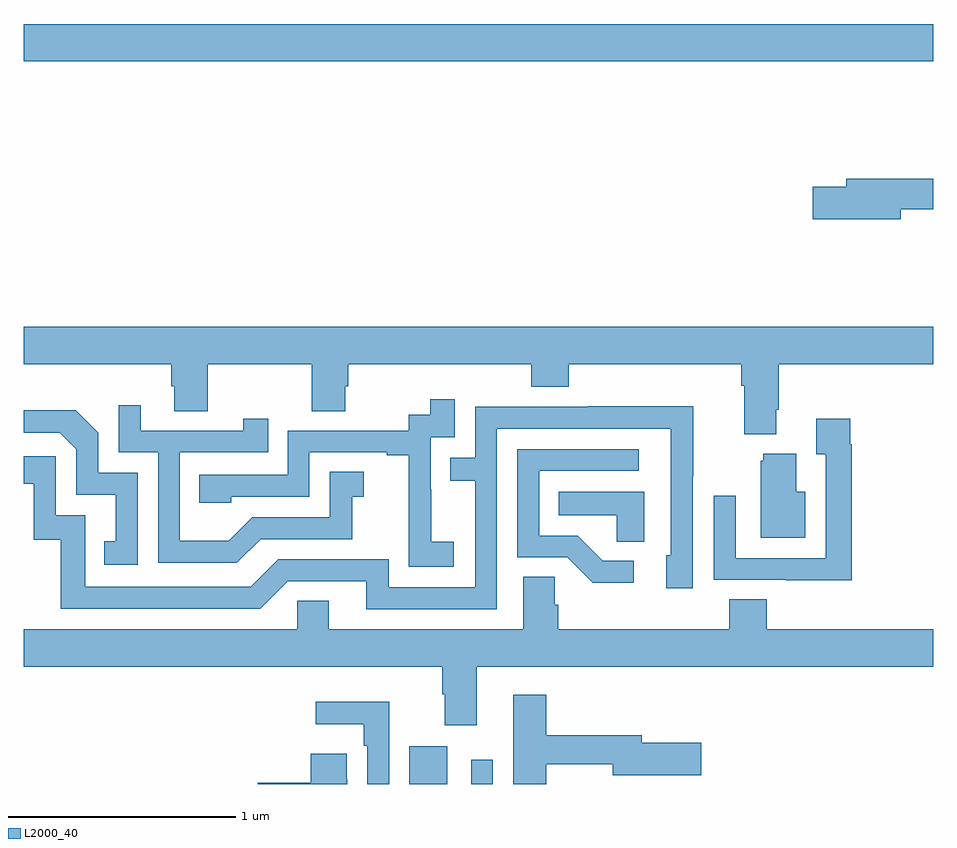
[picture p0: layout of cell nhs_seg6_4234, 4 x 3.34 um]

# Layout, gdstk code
import gdstk
lib = gdstk.Library(unit=1e-6, precision=1e-09)
def R(c, l, rs):  # rectangles x0, y0, x1, y1
    for r in rs: c.add(gdstk.rectangle(r[:2], r[2:], *l))
def P(c, l, *ps):  # polygons
    for p in ps: c.add(gdstk.Polygon(p, *l))
L2000_40 = (2000, 40)

nhs_seg6_4234 = lib.new_cell('nhs_seg6_4234')
R(nhs_seg6_4234, L2000_40, [(362.696,933.5,362.863,933.667), (362.967,933.5,363.063,933.607), (361,936.68,365,936.844)])
P(nhs_seg6_4234, L2000_40, [(364.858,936.028),(365,936.028),(365,936.164),(364.619,936.164),(364.619,936.128),(364.47,936.128),(364.47,935.986),(364.858,935.986)],
  [(364.309,935.146),(364.322,935.146),(364.322,935.348),(365,935.348),(365,935.512),(361,935.512),(361,935.348),(361.649,935.348),(361.649,935.25),(361.661,935.25),(361.661,935.14),(361.809,935.14),(361.809,935.348),(362.266,935.348),(362.266,935.14),(362.413,935.14),(362.413,935.25),(362.426,935.25),(362.426,935.348),(363.233,935.348),(363.233,935.249),(363.398,935.249),(363.398,935.348),(364.157,935.348),(364.157,935.252),(364.169,935.252),(364.169,935.039),(364.309,935.039)],
  [(362.89,934.567),(362.792,934.567),(362.792,934.796),(362.79,934.796),(362.79,935.025),(362.895,935.025),(362.895,935.194),(362.787,935.194),(362.787,935.124),(362.694,935.124),(362.694,935.055),(362.16,935.055),(362.16,934.86),(361.771,934.86),(361.771,934.737),(361.911,934.737),(361.911,934.764),(362.256,934.764),(362.256,934.959),(362.597,934.959),(362.597,934.947),(362.693,934.947),(362.693,934.663),(362.692,934.663),(362.692,934.457),(362.89,934.457)],
  [(362.041,934.578),(362.445,934.578),(362.445,934.763),(362.494,934.763),(362.494,934.873),(362.346,934.873),(362.346,934.674),(362.004,934.674),(361.9,934.57),(361.686,934.57),(361.686,934.959),(362.075,934.959),(362.075,935.107),(361.964,935.107),(361.964,935.055),(361.513,935.055),(361.513,935.167),(361.416,935.167),(361.416,934.959),(361.59,934.959),(361.59,934.473),(361.936,934.473)],
  [(363.081,935.064),(363.846,935.064),(363.846,934.506),(363.827,934.506),(363.827,934.362),(363.942,934.362),(363.942,934.855),(363.945,934.855),(363.945,935.162),(363.481,935.162),(363.481,935.16),(362.985,935.16),(362.985,934.935),(362.875,934.935),(362.875,934.834),(362.985,934.834),(362.985,934.365),(362.604,934.365),(362.604,934.488),(362.118,934.488),(361.998,934.368),(361.269,934.368),(361.269,934.683),(361.14,934.683),(361.14,934.942),(361,934.942),(361,934.821),(361.043,934.821),(361.043,934.575),(361.161,934.575),(361.161,934.272),(362.04,934.272),(362.16,934.392),(362.507,934.392),(362.507,934.269),(363.081,934.269)],
  [(361.5,934.869),(361.326,934.869),(361.326,935.046),(361.228,935.144),(361,935.144),(361,935.046),(361.158,935.046),(361.23,934.974),(361.23,934.773),(361.403,934.773),(361.403,934.569),(361.354,934.569),(361.354,934.464),(361.5,934.464)],
  [(364.643,934.994),(364.636,934.994),(364.636,935.107),(364.487,935.107),(364.487,934.951),(364.527,934.951),(364.527,934.494),(364.131,934.494),(364.131,934.768),(364.035,934.768),(364.035,934.398),(364.351,934.398),(364.351,934.397),(364.643,934.397)],
  [(363.682,934.482),(363.547,934.482),(363.436,934.593),(363.267,934.593),(363.267,934.878),(363.706,934.878),(363.706,934.974),(363.171,934.974),(363.171,934.497),(363.39,934.497),(363.503,934.385),(363.682,934.385)],
  [(364.438,934.786),(364.399,934.786),(364.399,934.954),(364.253,934.954),(364.253,934.923),(364.241,934.923),(364.241,934.583),(364.438,934.583)],
  [(363.73,934.786),(363.352,934.786),(363.352,934.682),(363.609,934.682),(363.609,934.567),(363.73,934.567)],
  [(362.992,934.016),(365,934.016),(365,934.18),(364.268,934.18),(364.268,934.313),(364.103,934.313),(364.103,934.18),(363.35,934.18),(363.35,934.289),(363.336,934.289),(363.336,934.412),(363.197,934.412),(363.197,934.18),(362.341,934.18),(362.341,934.307),(362.202,934.307),(362.202,934.18),(361,934.18),(361,934.016),(362.84,934.016),(362.84,933.896),(362.852,933.896),(362.852,933.759),(362.992,933.759)],
  [(363.299,933.586),(363.59,933.586),(363.59,933.539),(363.979,933.539),(363.979,933.681),(363.718,933.681),(363.718,933.715),(363.299,933.715),(363.299,933.892),(363.152,933.892),(363.152,933.5),(363.299,933.5)],
  [(362.607,933.862),(362.283,933.862),(362.283,933.764),(362.495,933.764),(362.495,933.668),(362.511,933.668),(362.511,933.5),(362.607,933.5)],
  [(362.422,933.521),(362.421,933.521),(362.421,933.634),(362.261,933.634),(362.261,933.506),(362.028,933.506),(362.028,933.5),(362.422,933.5)])

lib.write_gds('nhs_seg6_4234.gds')
